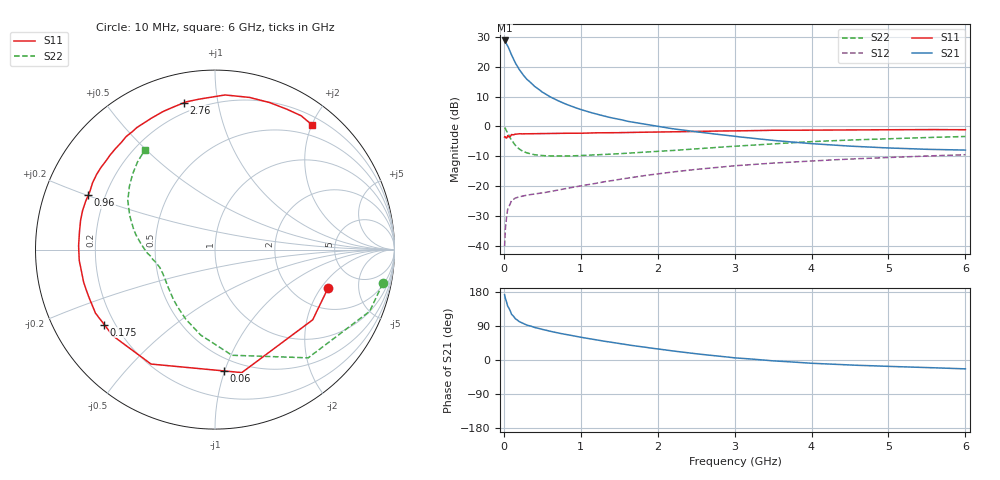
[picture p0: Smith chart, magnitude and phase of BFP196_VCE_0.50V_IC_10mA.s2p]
! Infineon Technologies  Discrete & RF Semiconductors
! BFP196
! VCE = 0.50V,  IC =  10mA
! Common Emitter S-Parameters:  Jan 2016
# GHz  S  MA  R  50
!  f  S11  S21  S12  S22
! GHz  MAG  ANG  MAG  ANG  MAG  ANG  MAG  ANG
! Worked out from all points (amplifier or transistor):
!   210 points, 10 MHz to 6 GHz, reference 50 ohm
!   highest |S21| = 28.8 dB at 10 MHz (marker M1)
!   |S21| within 3 dB of that: start of sweep to 69.56 MHz
!   unconditionally stable (mu >= 1): 828.1 MHz to end of sweep
!   at 185 MHz: K = 0.32, MSG = 21.7 dB, |S12| = -23.7 dB
!   at 1.52 GHz: K = 1.18, MAG = 7.4 dB, |S12| = -17.7 dB
!   at 6 GHz: K = 1.05, MAG = -0.6 dB, |S12| = -9.5 dB
!   S11 on the Smith chart (normalised r, x): 10 MHz: 3.06, -2.34; 60 MHz: 0.40, -0.99; 175 MHz: 0.16, -0.30; 960 MHz: 0.14, +0.20; 2.76 GHz: 0.15, +0.80; 6 GHz: 0.33, +2.01
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0.01  0.6654 -18.7  27.48 172.1  0.0099 82.0  0.9539 -11.4
0.02  0.6703 -35.7  26.3 162.7  0.0193 73.8  0.9277 -21.8
0.025  0.6502 -42.6  25.44 159.7  0.0226 68.4  0.8928 -25.7
0.05  0.7014 -77.7  22.35 142.1  0.0408 55.6  0.7957 -49.3
0.06  0.6775 -85.9  20.84 138.9  0.0436 51.1  0.7408 -54.1
0.1  0.7305 -119.2  15.71 120.7  0.057 38.1  0.5962 -80.9
0.15  0.7446 -139.8  11.49 108.8  0.0633 31.2  0.4827 -99.5
0.175  0.7452 -145.9  10.22 105.5  0.0648 29.6  0.4479 -105.8
0.2  0.7542 -152.0  9.001 101.3  0.0663 28.0  0.4194 -113.0
0.26  0.7515 -161.6  7.048 95.3  0.069 26.5  0.3772 -124.4
0.3  0.7541 -166.2  6.135 92.1  0.0707 26.3  0.3611 -130.0
0.4  0.7588 -175.5  4.68 85.9  0.074 27.2  0.3361 -140.5
0.6  0.7616 172.6  3.137 75.9  0.0812 30.5  0.3208 -152.4
0.96  0.7684 156.8  1.998 61.7  0.0989 35.3  0.324 -162.4
1.02  0.77 154.4  1.885 59.4  0.102 36.0  0.3266 -163.6
1.4  0.7826 141.1  1.392 46.7  0.1232 37.5  0.3438 -169.5
2.02  0.8076 122.0  0.99 28.6  0.1619 35.9  0.3837 -178.7
2.76  0.836 102.0  0.742 10.9  0.206 29.6  0.445 169.9
3.1  0.8447 94.3  0.661 4.3  0.2241 25.6  0.4746 164.5
4.1  0.8691 75.7  0.505 -9.5  0.2684 14.6  0.5634 149.2
5.1  0.8796 61.8  0.432 -17.4  0.3059 4.0  0.6281 136.2
6  0.8803 51.9  0.402 -23.4  0.3362 -6.0  0.6784 125.2
